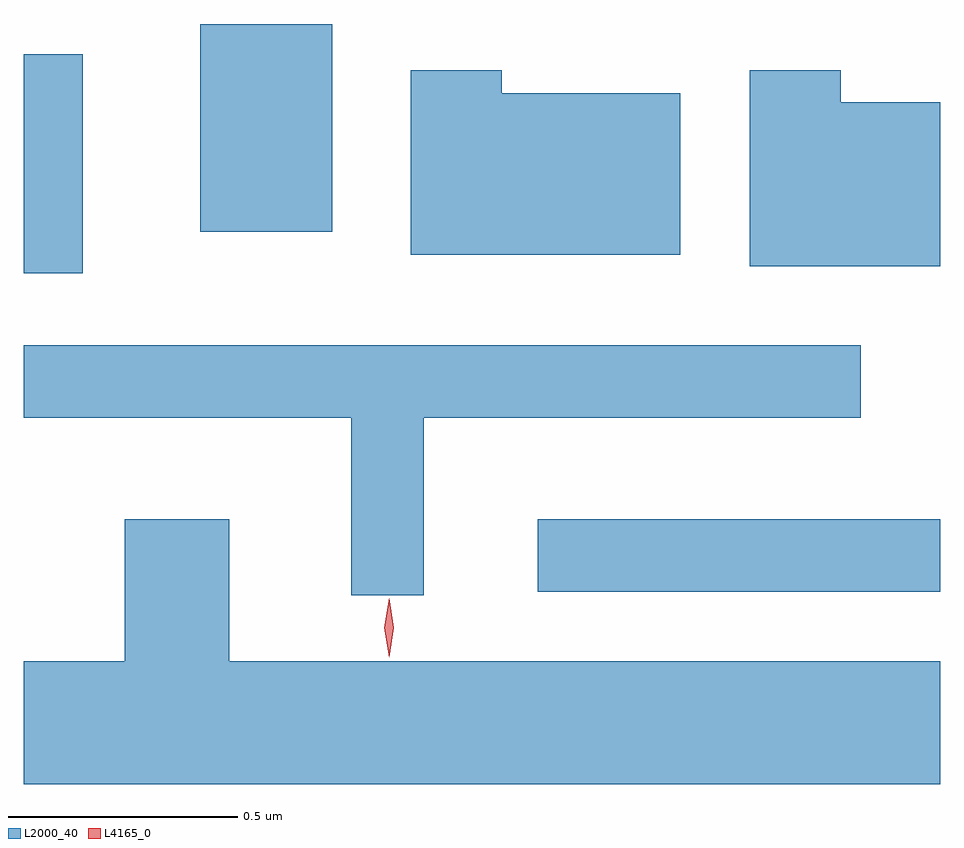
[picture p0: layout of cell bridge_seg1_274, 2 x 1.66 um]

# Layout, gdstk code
import gdstk
lib = gdstk.Library(unit=1e-6, precision=1e-09)
def R(c, l, rs):  # rectangles x0, y0, x1, y1
    for r in rs: c.add(gdstk.rectangle(r[:2], r[2:], *l))
def P(c, l, *ps):  # polygons
    for p in ps: c.add(gdstk.Polygon(p, *l))
L2000_40 = (2000, 40)
L4165_0 = (4165, 0)

bridge_seg1_274 = lib.new_cell('bridge_seg1_274')
R(bridge_seg1_274, L2000_40, [(900.073,897.776,900.951,897.934), (898.951,898.471,899.079,898.949), (899.336,898.561,899.624,899.015)])
P(bridge_seg1_274, L2000_40, [(900.384,898.864),(899.994,898.864),(899.994,898.914),(899.796,898.914),(899.796,898.511),(900.384,898.511)],
  [(900.951,898.844),(900.734,898.844),(900.734,898.914),(900.536,898.914),(900.536,898.486),(900.951,898.486)],
  [(899.824,898.156),(900.778,898.156),(900.778,898.314),(898.951,898.314),(898.951,898.156),(899.666,898.156),(899.666,897.768),(899.824,897.768)],
  [(900.951,897.624),(899.399,897.624),(899.399,897.934),(899.171,897.934),(899.171,897.624),(898.951,897.624),(898.951,897.356),(900.951,897.356)])
P(bridge_seg1_274, L4165_0, [(899.748,897.633),(899.748,897.633),(899.738,897.697),(899.748,897.762),(899.748,897.762),(899.748,897.762),(899.758,897.697),(899.749,897.633)])

lib.write_gds('bridge_seg1_274.gds')
